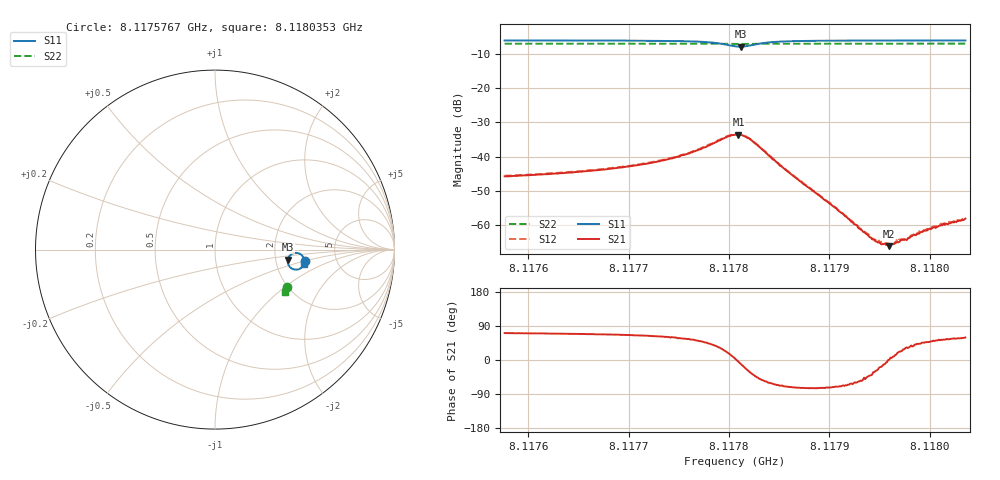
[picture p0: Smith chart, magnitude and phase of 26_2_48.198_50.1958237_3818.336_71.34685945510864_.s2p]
#  HZ  S  RI  R  50.00
! Rohde & Schwarz Vector Network Analyzer
! Rohde-Schwarz,ZNB20-2Port,1311601062101988,3.16
! Created: UTC 3/20/2024, 11:37:10 AM
! freq[Hz]  re:S11  im:S11  re:S21  im:S21  re:S12  im:S12  re:S22  im:S22
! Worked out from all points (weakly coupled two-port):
!   401 points, 8.1175767 GHz to 8.1180353 GHz, reference 50 ohm
!   highest |S21| = -33.55 dB at 8.1178094 GHz (marker M1); lowest = -66.3 dB at 8.1179596 GHz (marker M2)
!   lowest |S11| = -7.8 dB at 8.1178117 GHz (marker M3), VSWR 2.39, Z = 117 - j15.7 ohm
!   |S11| at or under -10 dB: nowhere
!   |S22| runs from -7.0 to -6.9 dB; largest |S21 - S12| = 0.00066
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8.1175767e9  0.5006 -0.0651  0.00166 0.00484  0.00176 0.00489  0.4022 -0.207
8.11765351e9  0.4982 -0.0749  0.00217 0.00558  0.00227 0.00565  0.3998 -0.2119
8.11769249e9  0.4957 -0.0814  0.00277 0.00632  0.00284 0.00642  0.3985 -0.2146
8.11773033e9  0.4906 -0.0908  0.00396 0.00752  0.0041 0.00765  0.3971 -0.2171
8.11776014e9  0.4801 -0.102  0.0063 0.00914  0.00669 0.00914  0.3956 -0.2192
8.11779109e9  0.4408 -0.1105  0.0147 0.00911  0.0153 0.00914  0.3929 -0.2211
8.117806e9  0.4069 -0.0797  0.0208 0.00138  0.0213 0.00111  0.3913 -0.2201
8.11780943e9  0.4045 -0.0656  0.021 -0.00171  0.0212 -0.00212  0.3912 -0.2198
8.11781173e9  0.4054 -0.0559  0.0204 -0.00377  0.0208 -0.00416  0.3913 -0.2195
8.11782205e9  0.4292 -0.0238  0.0143 -0.01  0.0144 -0.0102  0.3924 -0.219
8.11784498e9  0.4789 -0.0272  0.00387 -0.00801  0.0039 -0.00813  0.3937 -0.2211
8.11788281e9  0.4961 -0.0505  0.000848 -0.00306  0.000876 -0.00311  0.3932 -0.2245
8.11790345e9  0.4981 -0.0578  0.000597 -0.00177  0.000555 -0.00183  0.3925 -0.2261
8.11794472e9  0.4991 -0.0675  0.000518 -0.00032  0.000501 -0.000302  0.3913 -0.2289
8.11795045e9  0.4991 -0.0686  0.000514 -0.000172  0.000498 -0.000197  0.3908 -0.2293
8.11795963e9  0.4992 -0.0701  0.000484 5.31e-06  0.000511 2.36e-05  0.3906 -0.2298
8.11796307e9  0.4991 -0.0707  0.000512 7.48e-05  0.000502 0.000102  0.3906 -0.2302
8.11797109e9  0.499 -0.072  0.000556 0.000234  0.000542 0.000238  0.3904 -0.2308
8.11797682e9  0.499 -0.0728  0.000496 0.000325  0.000547 0.00033  0.3901 -0.2311
8.11799287e9  0.4988 -0.0751  0.000556 0.000581  0.000574 0.000532  0.3896 -0.2321
8.11801236e9  0.4987 -0.0777  0.000589 0.000785  0.000592 0.000805  0.3889 -0.2334
8.1180353e9  0.4984 -0.0804  0.000624 0.00106  0.000646 0.00103  0.3881 -0.2348
